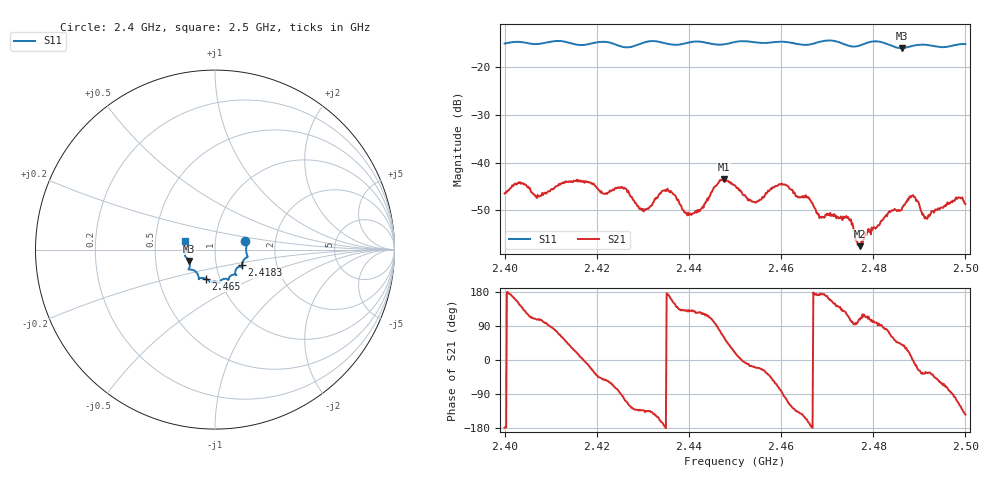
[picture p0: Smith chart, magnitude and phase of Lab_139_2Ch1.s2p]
# Hz S RI R 50
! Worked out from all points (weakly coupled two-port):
!   601 points, 2.4 GHz to 2.5 GHz, reference 50 ohm
!   highest |S21| = -43.51 dB at 2.4477 GHz (marker M1); lowest = -57.5 dB at 2.4772 GHz (marker M2)
!   lowest |S11| = -16.1 dB at 2.4862 GHz (marker M3), VSWR 1.37, Z = 37.2 - j4.83 ohm
!   |S11| at or under -10 dB: start of sweep to end of sweep
!   S12 and S22 are empty: the file has one direction only
!   S11 on the Smith chart (normalised r, x): 2.4 GHz: 1.40, +0.14; 2.4183 GHz: 1.33, -0.24; 2.465 GHz: 0.86, -0.28; 2.5 GHz: 0.71, +0.07
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2.4e9  0.1688 0.0473  -0.00475 -0.000134  0 0  0 0
2.416667e9  0.1546 -0.0681  0.00637 0.000723  0 0  0 0
2.418333e9  0.1501 -0.0869  0.00602 -0.00173  0 0  0 0
2.426e9  0.1254 -0.1001  -0.00125 -0.00529  0 0  0 0
2.429833e9  0.1136 -0.1356  -0.00216 -0.00231  0 0  0 0
2.433333e9  0.1175 -0.1409  -0.0039 -0.00216  0 0  0 0
2.435833e9  0.1017 -0.1391  -0.00476 0.00115  0 0  0 0
2.4405e9  0.0754 -0.1655  -0.00184 0.00214  0 0  0 0
2.447667e9  0.0388 -0.1675  0.00345 0.00572  0 0  0 0
2.45e9  0.0262 -0.1803  0.0054 0.00196  0 0  0 0
2.454167e9  0.0134 -0.1805  0.00365 -0.00125  0 0  0 0
2.46e9  -0.0265 -0.1815  0.000946 -0.00581  0 0  0 0
2.465e9  -0.0524 -0.1615  -0.00382 -0.00224  0 0  0 0
2.466667e9  -0.0713 -0.1576  -0.00377 -0.00031  0 0  0 0
2.468833e9  -0.0883 -0.1623  -0.00264 0.000257  0 0  0 0
2.474667e9  -0.0983 -0.1339  -0.00104 0.00238  0 0  0 0
2.477167e9  -0.1235 -0.1134  -0.000386 0.00128  0 0  0 0
2.483333e9  -0.1412 -0.0965  0.000761 0.0029  0 0  0 0
2.486167e9  -0.1435 -0.0634  0.00241 0.0021  0 0  0 0
2.488333e9  -0.1584 -0.0444  0.00444 0.000491  0 0  0 0
2.4915e9  -0.1668 -0.0316  0.00217 -0.00147  0 0  0 0
2.5e9  -0.1665 0.0467  -0.00297 -0.00218  0 0  0 0
